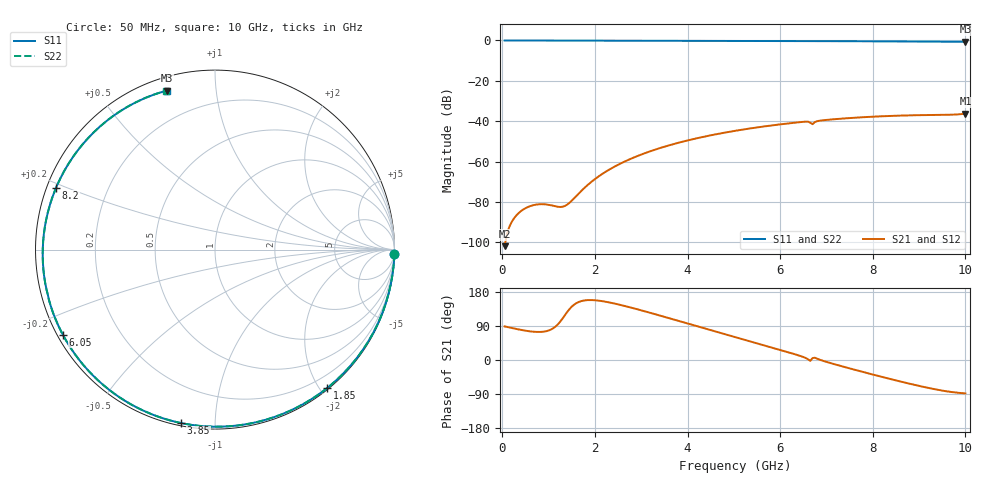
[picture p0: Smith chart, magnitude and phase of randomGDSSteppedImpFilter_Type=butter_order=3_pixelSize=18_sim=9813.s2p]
! freq	dB(S11)	phase(S11)	dB(S12)	phase(S12)
!  dB(S21)	phase(S21)	dB(S22)	phase(S22)
!S-par simulation data
#  GHz  S  DB  R 50
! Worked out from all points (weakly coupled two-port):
!   200 points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, 50 MHz to 10 GHz, reference 50 ohm
!   highest |S21| = -36.20 dB at 10 GHz (marker M1); lowest = -101.8 dB at 50 MHz (marker M2)
!   lowest |S11| = -0.7 dB at 10 GHz (marker M3), VSWR 25.86, Z = 2.99 + j37 ohm
!   |S11| at or under -10 dB: nowhere
!   |S22| runs from -0.7 to 0.0 dB; largest |S21 - S12| = 0
!   S11 on the Smith chart (normalised r, x): 50 MHz: 0, -80; 1.85 GHz: 0.02, -2.09; 3.85 GHz: 0.01, -0.82; 6.05 GHz: 0.02, -0.26; 8.2 GHz: 0.03, +0.19; 10 GHz: 0.06, +0.74
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0.05  -0.00 -1.4  -101.83 88.6  -101.83 88.6  -0.00 -1.4
0.75  -0.03 -21.1  -81.19 74.0  -81.19 74.0  -0.03 -21.1
1.45  -0.05 -40.4  -80.39 134.3  -80.39 134.3  -0.05 -40.4
1.75  -0.06 -48.5  -73.50 156.7  -73.50 156.7  -0.06 -48.5
1.85  -0.06 -51.1  -71.41 158.1  -71.41 158.1  -0.07 -51.1
2.15  -0.08 -59.0  -66.20 155.5  -66.20 155.5  -0.08 -59.0
2.5  -0.09 -68.0  -61.54 146.8  -61.54 146.8  -0.09 -68.0
2.9  -0.10 -78.1  -57.38 134.4  -57.38 134.4  -0.10 -78.1
3.4  -0.12 -90.3  -53.31 117.4  -53.31 117.4  -0.12 -90.3
3.85  -0.13 -101.0  -50.36 101.7  -50.36 101.7  -0.13 -101.0
4.45  -0.16 -114.9  -47.19 80.5  -47.19 80.5  -0.16 -114.9
5.05  -0.19 -128.5  -44.65 59.5  -44.65 59.5  -0.19 -128.5
6.05  -0.25 -150.8  -41.40 24.8  -41.40 24.8  -0.25 -150.8
6.6  -0.29 -163.2  -40.18 2.1  -40.18 2.1  -0.29 -163.1
6.7  -0.32 -165.4  -41.46 5.1  -41.46 5.1  -0.31 -165.3
6.8  -0.31 -167.6  -39.96 3.3  -39.96 3.3  -0.31 -167.6
6.95  -0.32 -171.1  -39.45 -3.1  -39.45 -3.1  -0.32 -171.1
7.6  -0.38 173.7  -38.26 -25.4  -38.26 -25.4  -0.38 173.7
8.2  -0.44 158.8  -37.52 -44.6  -37.52 -44.6  -0.44 158.9
8.35  -0.46 155.0  -37.39 -49.3  -37.39 -49.3  -0.46 155.0
9.15  -0.55 133.1  -36.92 -72.4  -36.92 -72.4  -0.55 133.2
10  -0.67 106.9  -36.20 -88.1  -36.20 -88.1  -0.67 107.0
